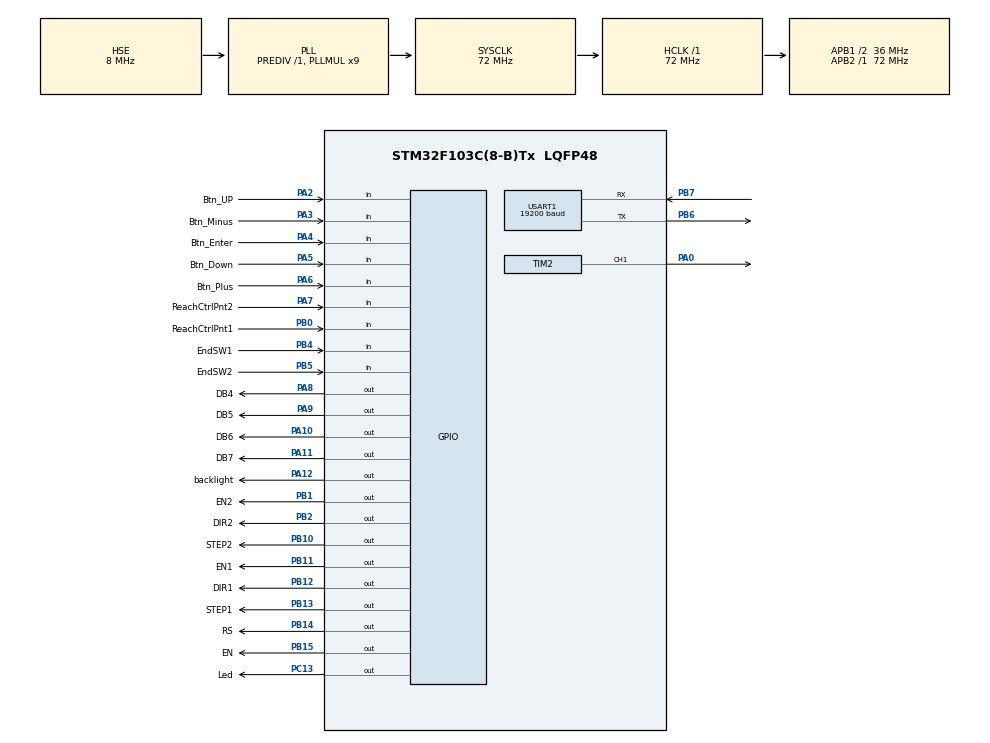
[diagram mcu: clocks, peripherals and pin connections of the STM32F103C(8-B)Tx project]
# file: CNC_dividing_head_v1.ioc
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FREERTOS.Tasks01=mainTask,24,128,StartMainTask,Default,NULL,Dynamic,NULL,NULL;ButtonProcessin,26,128,StartButtonProcessing,Default,NULL,Dynamic,NULL,NULL;LEDProcessing,8,128,StartLedProcessing,Default,NULL,Dynamic,NULL,NULL
IWDG.Prescaler=IWDG_PRESCALER_32
Mcu.Family=STM32F1
Mcu.Name=STM32F103C(8-B)Tx
Mcu.Package=LQFP48
NVIC.PriorityGroup=NVIC_PRIORITYGROUP_4
NVIC.TIM1_UP_IRQn=true\:5\:0\:false\:false\:true\:true\:true\:true\:true
NVIC.TIM4_IRQn=true\:15\:0\:false\:false\:true\:false\:true\:true\:true
NVIC.TimeBase=TIM4_IRQn
NVIC.TimeBaseIP=TIM4
NVIC.USART1_IRQn=true\:5\:0\:false\:false\:true\:true\:true\:true\:true
PA0-WKUP.Signal=S_TIM2_CH1_ETR
PA10.GPIO_Label=DB6
PA10.Signal=GPIO_Output
PA11.GPIO_Label=DB7
PA11.Signal=GPIO_Output
PA12.GPIO_Label=backlight
PA12.Signal=GPIO_Output
PA13.Mode=Trace_Asynchronous_SW
PA13.Signal=SYS_JTMS-SWDIO
PA14.Mode=Trace_Asynchronous_SW
PA14.Signal=SYS_JTCK-SWCLK
PA2.GPIO_Label=Btn_UP
PA2.Signal=GPIO_Input
PA3.GPIO_Label=Btn_Minus
PA3.Signal=GPIO_Input
PA4.GPIO_Label=Btn_Enter
PA4.Signal=GPIO_Input
PA5.GPIO_Label=Btn_Down
PA5.Signal=GPIO_Input
PA6.GPIO_Label=Btn_Plus
PA6.Signal=GPIO_Input
PA7.GPIO_Label=ReachCtrlPnt2
PA7.Signal=GPIO_Input
PA8.GPIO_Label=DB4
PA8.Signal=GPIO_Output
PA9.GPIO_Label=DB5
PA9.Signal=GPIO_Output
PB0.GPIO_Label=ReachCtrlPnt1
PB0.Signal=GPIO_Input
PB1.GPIO_Label=EN2
PB1.Signal=GPIO_Output
PB10.GPIO_Label=STEP2
PB10.GPIO_Speed=GPIO_SPEED_FREQ_HIGH
PB10.Signal=GPIO_Output
PB11.GPIO_Label=EN1
PB11.Signal=GPIO_Output
PB12.GPIO_Label=DIR1
PB12.Signal=GPIO_Output
PB13.GPIO_Label=STEP1
PB13.GPIO_Speed=GPIO_SPEED_FREQ_HIGH
PB13.Signal=GPIO_Output
PB14.GPIO_Label=RS
PB14.Signal=GPIO_Output
PB15.GPIO_Label=EN
PB15.Signal=GPIO_Output
PB2.GPIO_Label=DIR2
PB2.Signal=GPIO_Output
PB3.Mode=Trace_Asynchronous_SW
PB3.Signal=SYS_JTDO-TRACESWO
PB4.GPIO_Label=EndSW1
PB4.Signal=GPIO_Input
PB5.GPIO_Label=EndSW2
PB5.Signal=GPIO_Input
PB6.Mode=Asynchronous
PB6.Signal=USART1_TX
PB7.Mode=Asynchronous
PB7.Signal=USART1_RX
PC13-TAMPER-RTC.GPIO_Label=Led
PC13-TAMPER-RTC.GPIO_ModeDefaultOutputPP=GPIO_MODE_OUTPUT_OD
PC13-TAMPER-RTC.GPIO_PuPd=GPIO_NOPULL
PC13-TAMPER-RTC.PinState=GPIO_PIN_SET
PC13-TAMPER-RTC.Signal=GPIO_Output
PD0-OSC_IN.Mode=HSE-External-Oscillator
PD0-OSC_IN.Signal=RCC_OSC_IN
PD1-OSC_OUT.Mode=HSE-External-Oscillator
PD1-OSC_OUT.Signal=RCC_OSC_OUT
ProjectManager.HeapSize=0x200
ProjectManager.StackSize=0x400
ProjectManager.TargetToolchain=EWARM V8.32
RCC.ADCPresc=RCC_ADCPCLK2_DIV8
RCC.AHBFreq_Value=72000000
RCC.APB1CLKDivider=RCC_HCLK_DIV2
RCC.APB1Freq_Value=36000000
RCC.APB1TimFreq_Value=72000000
RCC.APB2Freq_Value=72000000
RCC.APB2TimFreq_Value=72000000
RCC.HCLKFreq_Value=72000000
RCC.PLLMUL=RCC_PLL_MUL9
RCC.PLLSourceVirtual=RCC_PLLSOURCE_HSE
RCC.SYSCLKFreq_VALUE=72000000
RCC.SYSCLKSource=RCC_SYSCLKSOURCE_PLLCLK
RCC.USBFreq_Value=72000000
SH.S_TIM2_CH1_ETR.0=TIM2_CH1,PWM Generation1 CH1
TIM1.Period=50000
TIM1.Prescaler=71
TIM2.Channel-PWM\ Generation1\ CH1=TIM_CHANNEL_1
TIM2.Prescaler=71
USART1.BaudRate=19200
USART1.Parity=PARITY_EVEN
USART1.VirtualMode=VM_ASYNC
VP_FREERTOS_VS_CMSIS_V2.Mode=CMSIS_V2
VP_IWDG_VS_IWDG.Mode=IWDG_Activate
VP_SYS_VS_tim4.Mode=TIM4
VP_TIM1_VS_ClockSourceINT.Mode=Internal
board=custom

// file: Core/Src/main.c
/* USER CODE BEGIN Header */
/**
  ******************************************************************************
  * @file           : main.c
  * @brief          : Main program body
  ******************************************************************************
  * @attention
  *
  * Copyright (c) 2024 STMicroelectronics.
  * All rights reserved.
  *
  * This software is licensed under terms that can be found in the LICENSE file
  * in the root directory of this software component.
  * If no LICENSE file comes with this software, it is provided AS-IS.
  *
  ******************************************************************************
  */
/* USER CODE END Header */
#include "main.h"
#include "cmsis_os.h"
#include "iwdg.h"
#include "tim.h"
#include "usart.h"
#include "gpio.h"

void SystemClock_Config(void);
void MX_FREERTOS_Init(void);

int main(void)
{

  /* MCU Configuration--------------------------------------------------------*/

  /* Reset of all peripherals, Initializes the Flash interface and the Systick. */
  HAL_Init();

  /* Configure the system clock */
  SystemClock_Config();

  /* Initialize all configured peripherals */
  MX_GPIO_Init();
  MX_IWDG_Init();
  MX_USART1_UART_Init();
  MX_TIM1_Init();
  MX_TIM2_Init();

  /* Init scheduler */
  osKernelInitialize();

  /* Call init function for freertos objects (in cmsis_os2.c) */
  MX_FREERTOS_Init();

  /* Start scheduler */
  osKernelStart();

  /* We should never get here as control is now taken by the scheduler */

  /* Infinite loop */
  while (1)
  {

  }
}

void SystemClock_Config(void)
{
  RCC_OscInitTypeDef RCC_OscInitStruct = {0};
  RCC_ClkInitTypeDef RCC_ClkInitStruct = {0};

  /** Initializes the RCC Oscillators according to the specified parameters
  * in the RCC_OscInitTypeDef structure.
  */
  RCC_OscInitStruct.OscillatorType = RCC_OSCILLATORTYPE_LSI|RCC_OSCILLATORTYPE_HSE;
  RCC_OscInitStruct.HSEState = RCC_HSE_ON;
  RCC_OscInitStruct.HSEPredivValue = RCC_HSE_PREDIV_DIV1;
  RCC_OscInitStruct.HSIState = RCC_HSI_ON;
  RCC_OscInitStruct.LSIState = RCC_LSI_ON;
  RCC_OscInitStruct.PLL.PLLState = RCC_PLL_ON;
  RCC_OscInitStruct.PLL.PLLSource = RCC_PLLSOURCE_HSE;
  RCC_OscInitStruct.PLL.PLLMUL = RCC_PLL_MUL9;
  if (HAL_RCC_OscConfig(&RCC_OscInitStruct) != HAL_OK)
  {
    Error_Handler();
  }

  /** Initializes the CPU, AHB and APB buses clocks
  */
  RCC_ClkInitStruct.ClockType = RCC_CLOCKTYPE_HCLK|RCC_CLOCKTYPE_SYSCLK
                              |RCC_CLOCKTYPE_PCLK1|RCC_CLOCKTYPE_PCLK2;
  RCC_ClkInitStruct.SYSCLKSource = RCC_SYSCLKSOURCE_PLLCLK;
  RCC_ClkInitStruct.AHBCLKDivider = RCC_SYSCLK_DIV1;
  RCC_ClkInitStruct.APB1CLKDivider = RCC_HCLK_DIV2;
  RCC_ClkInitStruct.APB2CLKDivider = RCC_HCLK_DIV1;

  if (HAL_RCC_ClockConfig(&RCC_ClkInitStruct, FLASH_LATENCY_2) != HAL_OK)
  {
    Error_Handler();
  }
}

void HAL_TIM_PeriodElapsedCallback(TIM_HandleTypeDef *htim)
{
  if (htim->Instance == TIM4) {
    HAL_IncTick();
  }
}

void Error_Handler(void)
{
  __disable_irq();
  while (1)
  {
  }
}

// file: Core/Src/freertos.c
/* USER CODE BEGIN Header */
/**
******************************************************************************
* File Name          : freertos.c
* Description        : Code for freertos applications
******************************************************************************
* @attention
*
* Copyright (c) 2024 STMicroelectronics.
* All rights reserved.
*
* This software is licensed under terms that can be found in the LICENSE file
* in the root directory of this software component.
* If no LICENSE file comes with this software, it is provided AS-IS.
*
******************************************************************************
*/
/* USER CODE END Header */

#include "FreeRTOS.h"
#include "task.h"
#include "main.h"
#include "cmsis_os.h"

/* USER CODE BEGIN Includes */
#include "wh1602.h"
#include <stdio.h>
#include "beep.h"
/* USER CODE END Includes */

/* USER CODE BEGIN PTD */
struct button_without_fix {
  GPIO_PinState pos_current;
  GPIO_PinState pos_previous;
  GPIO_PinState pos_out;
  GPIO_PinState pos_normal;
  uint16_t hold_counter;
};
struct Step_DIR_EN_M_inv{
  uint8_t Step:1;               //step inverse 0-no
  uint8_t DIR:1;                //dir inverse 1-yes
  uint8_t EN:1;                 //En inverse 0-no
  uint8_t Mot_Left:1;           //mot inverse 0-left CW or CCW
};
struct Motor{
  GPIO_PinState ReachCtrlPoint;         //feedback frrom me module
  uint32_t      Pulses_per_rev;         //pulses per revolution
  uint16_t      Max_Speed;              //max speed of motor pulses/sec
  int32_t       output_sp;              //how many impulses we have to send
  uint16_t      out_frequency;          //how fast we will send our impulses
  struct        Step_DIR_EN_M_inv Step_DIR_EN_M_inv;      //magic number for inversion of output pins
  uint8_t       Speed_sp;               //0-100% speed SP from settings
  uint8_t       ReachCtrlPoint_avalible; //0 not used, 1 wait for set, 2 waiting for reset
};

struct Motor M1 = {  //мотор для поворота
  GPIO_PIN_RESET,    // ReachCtrlPoint
  72000,             // Pulses_per_rev
  54000,             // Max_Speed
  0,                 // output_sp
  222,               // out_frequency
  {0, 0, 0, 0},      // Step_DIR_EN_M_inv (Step=0, DIR=0, EN=0, Mot_Left=0)
  99,                 //Speed Setpoint 0-100 direct
  0                  //Speed Setpoint 0-100 reverse
};
struct Motor M2 = {
  GPIO_PIN_RESET,    // ReachCtrlPoint
  72000,             // Pulses_per_rev
  54000,             // Max_Speed
  0,                 // output_sp
  222,               // out_frequency
  {0, 0, 0, 0},      // Step_DIR_EN_M_inv (Step=0, DIR=0, EN=0, Mot_Left=0)
  99,                 //Speed Setpoint 0-100 direct
  0                  //Speed Setpoint 0-100 reverse
};

extern TIM_HandleTypeDef htim1;
/* USER CODE END PTD */

/* USER CODE BEGIN PD */
void Flash_read();
uint32_t Flash_write();
FLASH_EraseInitTypeDef Erase;
/* USER CODE END PD */

/* USER CODE BEGIN PM */
#define flash_read(address)  (*(uint32_t*) address)
void buttin_proc(struct button_without_fix *button,GPIO_TypeDef *GPIOx, uint16_t GPIO_Pin);
void buttin_proc_without_tim(struct button_without_fix *button,GPIO_TypeDef *GPIOx, uint16_t GPIO_Pin);
void Set_period_and_start_TIM(TIM_HandleTypeDef *htim,uint16_t period);

/* USER CODE END PM */

/* USER CODE BEGIN Variables */
extern IWDG_HandleTypeDef hiwdg;
uint8_t flag=0, backlight_on=1,motor_in_use=0,startyem=0,error=0;  //screenchoise flag
uint8_t tooth_sp=0, current_tooth=0,screen_cursor=0, screen_enter_set=0;
uint8_t screen_substrate=1;
int16_t Deept_of_cut_mm=0;
uint16_t Delay_switching=0;
uint32_t Pulses_for_tooth=0;
int32_t Pulses_for_deptofcut=0; //may be in bouth directions
static struct button_without_fix  UP_btn={GPIO_PIN_RESET,GPIO_PIN_RESET,GPIO_PIN_RESET,GPIO_PIN_SET,0},
DOWN_btn={GPIO_PIN_RESET,GPIO_PIN_RESET,GPIO_PIN_RESET,GPIO_PIN_SET,0},
PLUS_btn={GPIO_PIN_RESET,GPIO_PIN_RESET,GPIO_PIN_RESET,GPIO_PIN_SET,0},
MINUS_btn={GPIO_PIN_RESET,GPIO_PIN_RESET,GPIO_PIN_RESET,GPIO_PIN_SET,0},
ENTER_btn={GPIO_PIN_RESET,GPIO_PIN_RESET,GPIO_PIN_RESET,GPIO_PIN_SET,0},
SW1_btn={GPIO_PIN_RESET,GPIO_PIN_RESET,GPIO_PIN_RESET,GPIO_PIN_SET,0},
SW2_btn={GPIO_PIN_RESET,GPIO_PIN_RESET,GPIO_PIN_RESET,GPIO_PIN_SET,0},
RCP1_btn={GPIO_PIN_RESET,GPIO_PIN_RESET,GPIO_PIN_RESET,GPIO_PIN_SET,0},
RCP2_btn={GPIO_PIN_RESET,GPIO_PIN_RESET,GPIO_PIN_RESET,GPIO_PIN_SET,0};
/* USER CODE END Variables */
/* Definitions for mainTask */
osThreadId_t mainTaskHandle;
const osThreadAttr_t mainTask_attributes = {
  .name = "mainTask",
  .stack_size = 128 * 4,
  .priority = (osPriority_t) osPriorityNormal3,
};
/* Definitions for ButtonProcessin */
osThreadId_t ButtonProcessinHandle;
const osThreadAttr_t ButtonProcessin_attributes = {
  .name = "ButtonProcessin",
  .stack_size = 128 * 4,
  .priority = (osPriority_t) osPriorityNormal2,
};
/* Definitions for LEDProcessing */
osThreadId_t LEDProcessingHandle;
const osThreadAttr_t LEDProcessing_attributes = {
  .name = "LEDProcessing",
  .stack_size = 128 * 4,
  .priority = (osPriority_t) osPriorityLow2,
};

/* USER CODE BEGIN FunctionPrototypes */
osMessageQueueId_t BeepQueueHandle;
const osMessageQueueAttr_t BeepQueue_attributes = {
  .name = "BeepQueue"
};

osThreadId_t BeepTaskHandle;
const osThreadAttr_t BeepTaskHandle_attributes = {
  .name = "BeepTask",
  .stack_size = 128 * 4,
  .priority = (osPriority_t) osPriorityLow,
};
/* USER CODE END FunctionPrototypes */

void StartMainTask(void *argument);
void StartButtonProcessing(void *argument);
void StartLedProcessing(void *argument);

void MX_FREERTOS_Init(void); /* (MISRA C 2004 rule 8.1) */

void MX_FREERTOS_Init(void) {
  /* USER CODE BEGIN Init */
  Flash_read();
  /* USER CODE END Init */

  /* USER CODE BEGIN RTOS_QUEUES */
  /* add queues, ... */
  BeepQueueHandle = osMessageQueueNew (10, sizeof(uint16_t), &BeepQueue_attributes);
  /* USER CODE END RTOS_QUEUES */

  /* Create the thread(s) */
  /* creation of mainTask */
  mainTaskHandle = osThreadNew(StartMainTask, NULL, &mainTask_attributes);

  /* creation of ButtonProcessin */
  ButtonProcessinHandle = osThreadNew(StartButtonProcessing, NULL, &ButtonProcessin_attributes);

  /* creation of LEDProcessing */
  LEDProcessingHandle = osThreadNew(StartLedProcessing, NULL, &LEDProcessing_attributes);

  /* USER CODE BEGIN RTOS_THREADS */
  /* add threads, ... */
  BeepTaskHandle = osThreadNew(vBeepTask, NULL, &BeepTaskHandle_attributes);
  /* USER CODE END RTOS_THREADS */

}

void StartMainTask(void *argument)
{
  /* USER CODE BEGIN StartMainTask */
  static uint8_t cut_phase=0;
  uint16_t RCP_timer=Delay_switching;
  uint32_t timer =osKernelGetTickCount();
  osDelay(100);
  /* Infinite loop */
  for(;;)
  {
    HAL_IWDG_Refresh(&hiwdg);

    osDelay(10);
    switch (flag) {
    case SCREEN_STARTUEM:
      if(SW1_btn.pos_out)
      {
        error=ERROR_SW1;
        BeepCustom(BeepType_Fail);
        break;
      }
      if(SW2_btn.pos_out)
      {
        error=ERROR_SW2;
        BeepCustom(BeepType_Fail);
        break;
      }
      if(startyem){  //тут инициализация запуска, поставить начальные значения для tooth sp и другое
        startyem=0;
        HAL_GPIO_WritePin(EN1_GPIO_Port,EN1_Pin,M1.Step_DIR_EN_M_inv.EN?GPIO_PIN_RESET:GPIO_PIN_SET);
        HAL_GPIO_WritePin(EN2_GPIO_Port,EN2_Pin,M2.Step_DIR_EN_M_inv.EN?GPIO_PIN_RESET:GPIO_PIN_SET);
        if (tooth_sp){
          Pulses_for_tooth=M1.Pulses_per_rev/tooth_sp;
          current_tooth=tooth_sp;
        }
        Pulses_for_deptofcut=M2.Pulses_per_rev*Deept_of_cut_mm;
        Pulses_for_deptofcut=Pulses_for_deptofcut/10;
        cut_phase=M1_FIRST_ROTATION;
        motor_in_use=1;
        M1.output_sp=Pulses_for_tooth;
        M1.out_frequency=500000/M1.Max_Speed;
        Set_period_and_start_TIM(&htim1,M1.out_frequency); //1000000/period
      }
      break;
    case SCREEN_SETTINGS3:
      if(startyem==1){
        startyem=0;
        HAL_GPIO_WritePin(EN1_GPIO_Port,EN1_Pin,M1.Step_DIR_EN_M_inv.EN?GPIO_PIN_RESET:GPIO_PIN_SET);
        motor_in_use=1;
        M1.output_sp=M1.Pulses_per_rev;
        cut_phase=M1_ROTATION;
        M1.out_frequency=500000/M1.Max_Speed;
        Set_period_and_start_TIM(&htim1,M1.out_frequency); //1000000/period
      }else if (startyem==2){
        HAL_GPIO_WritePin(EN2_GPIO_Port,EN2_Pin,M2.Step_DIR_EN_M_inv.EN?GPIO_PIN_RESET:GPIO_PIN_SET);
        startyem=0;
        motor_in_use=2;
        M2.output_sp=M2.Pulses_per_rev;
        cut_phase=M2_ROTATION;
        M2.out_frequency=500000/M2.Max_Speed;
        Set_period_and_start_TIM(&htim1,M2.out_frequency); //1000000/period
      }
      //TODO сделать тест куда ехать
      break;
    case SCREEN_SETTINGS4:
      if(startyem==1){
        HAL_GPIO_WritePin(EN1_GPIO_Port,EN1_Pin,M1.Step_DIR_EN_M_inv.EN?GPIO_PIN_RESET:GPIO_PIN_SET);
        startyem=0;
        motor_in_use=1;
        M1.output_sp=M1.Pulses_per_rev;
        cut_phase=M1_ROTATION;
        M1.out_frequency=500000/M1.Max_Speed;
        Set_period_and_start_TIM(&htim1,M1.out_frequency); //1000000/period
      }else if (startyem==2){
        startyem=0;
        HAL_GPIO_WritePin(EN2_GPIO_Port,EN2_Pin,M2.Step_DIR_EN_M_inv.EN?GPIO_PIN_RESET:GPIO_PIN_SET);
        motor_in_use=2;
        M2.output_sp=M2.Pulses_per_rev;
        cut_phase=M2_ROTATION;
        M2.out_frequency=500000/M2.Max_Speed;
        Set_period_and_start_TIM(&htim1,M2.out_frequency); //1000000/period
      }
      //TODO сделать тест куда ехать
      break;

    default:
      cut_phase=STOP;
      break;
    }

    if(error){
      flag=SCREEN_ERROR;
      cut_phase=STOP;
    }

    switch (cut_phase) {
    case STOP:
      motor_in_use=0;
      M1.output_sp=0;
      M2.output_sp=0;
      RCP_timer=Delay_switching;
        HAL_GPIO_WritePin(EN1_GPIO_Port,EN1_Pin,M1.Step_DIR_EN_M_inv.EN?GPIO_PIN_RESET:GPIO_PIN_RESET);
        HAL_GPIO_WritePin(EN2_GPIO_Port,EN2_Pin,M2.Step_DIR_EN_M_inv.EN?GPIO_PIN_RESET:GPIO_PIN_RESET);
      break;
    case M1_FIRST_ROTATION:
      if(M1.output_sp==0){  //доехали до конца
        if(M1.ReachCtrlPoint==GPIO_PIN_SET){
          cut_phase=M2_CUT_FORWARD;
          motor_in_use=2;
          M2.output_sp=Pulses_for_deptofcut;
          RCP_timer=Delay_switching;
          uint16_t temp=M2.Max_Speed*M2.Speed_sp/100;
          M2.out_frequency=500000/temp;
          Set_period_and_start_TIM(&htim1,M2.out_frequency); //1000000/period
        }
        if(RCP_timer>10){
          RCP_timer=RCP_timer-10;
        }else{
          BeepCustom(BeepType_Fail);
          error=ERROR_RCP1_TIMEOUT;
        }
      }
      break;
    case M2_CUT_FORWARD:
      if(M2.output_sp==0){  //доехали до конца
        if(M2.ReachCtrlPoint==GPIO_PIN_SET){
          motor_in_use=2;
          cut_phase=M2_CUT_BACKWARD;
          M2.output_sp=Pulses_for_deptofcut*(-1);
          RCP_timer=Delay_switching;
          M2.out_frequency=500000/M2.Max_Speed;
          Set_period_and_start_TIM(&htim1,M2.out_frequency); //1000000/period
        }
        if(RCP_timer>10){
          RCP_timer=RCP_timer-10;
        }else{
          error=ERROR_RCP2_TIMEOUT;
          BeepCustom(BeepType_Fail);
        }
      }

      break;
    case M2_CUT_BACKWARD:
      if(M2.output_sp==0){  //доехали до конца
        if(M2.ReachCtrlPoint==GPIO_PIN_SET){
          current_tooth--;
          RCP_timer=Delay_switching;
          if(current_tooth==0){

            flag=SCREEN_SUCSESS;
            BeepCustom(BeepType_Bonus);
            osDelay(2000); //дадим доехать до конца
            cut_phase=STOP;               //успешный успех
          }else{
            motor_in_use=1;
            M1.output_sp=Pulses_for_tooth;
            cut_phase=M1_FIRST_ROTATION;
            M1.out_frequency=500000/M1.Max_Speed;
            Set_period_and_start_TIM(&htim1,M1.out_frequency); //1000000/period
          }
        }
        if(RCP_timer>10){
          RCP_timer=RCP_timer-10;
        }else{
          error=ERROR_RCP2_TIMEOUT;
          BeepCustom(BeepType_Fail);
        }
      }
      break;
    case M1_ROTATION:  //тестовое вращение
      if(M1.output_sp==0){  //доехали до конца
        osDelay(2000); //дадим доехать до конца
        cut_phase=STOP;               //успешный успех
        BeepCustom(BeepType_Success);
      }
      break;
    case M2_ROTATION:  //тестовое вращение
      if(M2.output_sp==0){  //доехали до конца
        osDelay(2000); //дадим доехать до конца
        cut_phase=STOP;               //успешный успех
        BeepCustom(BeepType_Success);
      }
      break;
    }

  }
  /* USER CODE END StartMainTask */
}

void StartButtonProcessing(void *argument)
{
  /* USER CODE BEGIN StartButtonProcessing */
  osDelay(100);
  /* Infinite loop */
  for(;;)
  {
    if(M1.ReachCtrlPoint_avalible){
      if(M1.ReachCtrlPoint_avalible==2){
        RCP1_btn.pos_normal=GPIO_PIN_SET;
        buttin_proc_without_tim(&RCP1_btn,ReachCtrlPnt1_GPIO_Port,ReachCtrlPnt1_Pin);
      }else{
        RCP1_btn.pos_normal=GPIO_PIN_RESET;
        buttin_proc_without_tim(&RCP1_btn,ReachCtrlPnt1_GPIO_Port,ReachCtrlPnt1_Pin);
      }
    }else{
      RCP1_btn.pos_out=GPIO_PIN_SET;
    }

    if(M2.ReachCtrlPoint_avalible){
      if(M1.ReachCtrlPoint_avalible==2){
        RCP2_btn.pos_normal=GPIO_PIN_SET;
        buttin_proc_without_tim(&RCP2_btn,ReachCtrlPnt2_GPIO_Port,ReachCtrlPnt2_Pin);
      }else{
        RCP2_btn.pos_normal=GPIO_PIN_RESET;
        buttin_proc_without_tim(&RCP2_btn,ReachCtrlPnt2_GPIO_Port,ReachCtrlPnt2_Pin);
      }
    }else{
      RCP2_btn.pos_out=GPIO_PIN_SET;
    }
    M1.ReachCtrlPoint=RCP1_btn.pos_out;
    M2.ReachCtrlPoint=RCP2_btn.pos_out;
    buttin_proc(&UP_btn,Btn_UP_GPIO_Port,Btn_UP_Pin);
    buttin_proc(&DOWN_btn,Btn_Down_GPIO_Port,Btn_Down_Pin);
    buttin_proc(&PLUS_btn,Btn_Plus_GPIO_Port,Btn_Plus_Pin);
    buttin_proc(&MINUS_btn,Btn_Minus_GPIO_Port,Btn_Minus_Pin);
    buttin_proc(&ENTER_btn,Btn_Enter_GPIO_Port,Btn_Enter_Pin);
    buttin_proc_without_tim(&SW1_btn,EndSW1_GPIO_Port,EndSW1_Pin);
    buttin_proc_without_tim(&SW2_btn,EndSW2_GPIO_Port,EndSW2_Pin);

    osDelay(100);

    //-------------------navigation--------------------//
    switch(flag){
      //------------------------------screen0--------------------------------------//
    case SCREEN_MAIN:  //default screen
      switch(screen_cursor){
      case 0:
        screen_enter_set=0;
        break;
      case 1:
        if (ENTER_btn.pos_out){
          screen_enter_set=1;
        }
        if(screen_enter_set){
          if (PLUS_btn.pos_out){
            tooth_sp++;
            if (tooth_sp >= 250) {
              tooth_sp = 99;
            }
          }
          if (MINUS_btn.pos_out){
            tooth_sp--;
            if (tooth_sp <= 2) {
              tooth_sp = 2;
            }
          }
        }

        break;
      case 2:
        if (ENTER_btn.pos_out){
          screen_enter_set=1;
        }
        if(screen_enter_set){
          if (PLUS_btn.pos_out){
            M2.Speed_sp++;
            if (M2.Speed_sp >= 100) {
              M2.Speed_sp = 99;
            }
          }
          if (MINUS_btn.pos_out){
            M2.Speed_sp--;
            if (M2.Speed_sp <= 10) {
              M2.Speed_sp = 10;
            }
          }
        }

        break;
      case 3:
        if (ENTER_btn.pos_out){
          screen_enter_set=1;
        }
        if(screen_enter_set){
          if (PLUS_btn.pos_out){
            Deept_of_cut_mm+=PLUS_btn.hold_counter;
            if (Deept_of_cut_mm >= 1000) {
              Deept_of_cut_mm = 999;
            }
          }
          if (MINUS_btn.pos_out){
            Deept_of_cut_mm-=MINUS_btn.hold_counter;
            if (Deept_of_cut_mm <= -1000) {
              Deept_of_cut_mm = -999;
            }
          }
        }

        break;
      case 4:
        if (ENTER_btn.pos_out){
          screen_enter_set=0;
          screen_cursor=0;
          flag=SCREEN_STARTUEM;  //startyem!!!
          startyem=1;
          break;  //this break will set us to next scan;
        }

        break;
      }

      if (screen_enter_set){
        if(UP_btn.pos_out){
          screen_enter_set=0;
          screen_cursor=0;
        }
      }else{
        if (PLUS_btn.pos_out){
          (screen_cursor<4)?screen_cursor++:0;
        }
        if (MINUS_btn.pos_out){
          (screen_cursor>0)?screen_cursor--:0;
        }
        if (DOWN_btn.pos_out){
          flag=SCREEN_MAIN2;  //go to endswitches indication
          screen_cursor=0;
        }
      }
      break;
      //------------------------------screen1--------------------------------------//
    case SCREEN_MAIN2:  //settings indication screen
      if(screen_cursor==1){
        if (ENTER_btn.pos_out){
          screen_enter_set=0;
          screen_cursor=0;
          flag=SCREEN_SETTINGS1;
          break;  //this break will set us to next scan;
        }
      }else if (screen_cursor==2){
        if (ENTER_btn.pos_out){
          screen_enter_set=1;
        }
        if(screen_enter_set){
          if (PLUS_btn.pos_out){
            backlight_on=1;
          }
          if (MINUS_btn.pos_out){
            backlight_on=0;
          }
        }
      }

      if (screen_enter_set){
        if (UP_btn.pos_out){
          screen_enter_set=0;
          screen_cursor=0;
          Flash_write();
        }

      }else{
        if (PLUS_btn.pos_out){

          (screen_cursor<2)?screen_cursor++:0;
        }
        if (MINUS_btn.pos_out){

          (screen_cursor>0)?screen_cursor--:0;
        }
        if (UP_btn.pos_out){
          flag=SCREEN_MAIN;  //go to endswitches indication
          screen_cursor=0;
        }
      }
      break;
      //------------------------------screen2--------------------------------------//
    case SCREEN_SETTINGS1:  //settings reach contrl piont check and endswitches
      switch(screen_cursor){
      case 0:
        screen_enter_set=0;
        break;
      case 1:
        if (ENTER_btn.pos_out){
          screen_enter_set=1;
        }
        if(screen_enter_set){
          if (PLUS_btn.pos_out){
            SW1_btn.pos_normal=GPIO_PIN_SET;
          }
          if (MINUS_btn.pos_out){
            SW1_btn.pos_normal=GPIO_PIN_RESET;
          }
        }
        break;
      case 2:
        if (ENTER_btn.pos_out){
          screen_enter_set=1;
        }
        if(screen_enter_set){
          if (PLUS_btn.pos_out){
            Delay_switching+=PLUS_btn.hold_counter;
            if (Delay_switching>5000){
              Delay_switching=5000;
            }
          }
          if (MINUS_btn.pos_out){
            Delay_switching-=MINUS_btn.hold_counter;
            if (Delay_switching>5000){
              Delay_switching=0;
            }
          }
        }
        break;
      case 3:
        if (ENTER_btn.pos_out){
          screen_enter_set=1;
        }
        if(screen_enter_set){
          if (PLUS_btn.pos_out){
            SW2_btn.pos_normal=GPIO_PIN_SET;
          }
          if (MINUS_btn.pos_out){
            SW2_btn.pos_normal=GPIO_PIN_RESET;
          }
        }
        break;
      case 4:
        if (ENTER_btn.pos_out){
          screen_enter_set=1;
        }
        if(screen_enter_set){
          if (PLUS_btn.pos_out){
            M1.ReachCtrlPoint_avalible++;
            if (M1.ReachCtrlPoint_avalible>2){
              M1.ReachCtrlPoint_avalible=2;
            }
          }
          if (MINUS_btn.pos_out){
            M1.ReachCtrlPoint_avalible--;
            if (M1.ReachCtrlPoint_avalible>2){
              M1.ReachCtrlPoint_avalible=0;
            }
          }
        }
        break;
      case 5:
        if (ENTER_btn.pos_out){
          screen_enter_set=1;
        }
        if(screen_enter_set){
          if (PLUS_btn.pos_out){
            M2.ReachCtrlPoint_avalible++;
            if (M2.ReachCtrlPoint_avalible>2){
              M2.ReachCtrlPoint_avalible=2;
            }
          }
          if (MINUS_btn.pos_out){
            M2.ReachCtrlPoint_avalible--;
            if (M2.ReachCtrlPoint_avalible>2){
              M2.ReachCtrlPoint_avalible=0;
            }
          }
        }
        break;
      }
      if (screen_enter_set){
        if (UP_btn.pos_out){
          screen_enter_set=0;
          screen_cursor=0;
          Flash_write();
        }
      }else{
        if (PLUS_btn.pos_out){

          (screen_cursor<5)?screen_cursor++:0;
        }
        if (MINUS_btn.pos_out){

          (screen_cursor>0)?screen_cursor--:0;
        }
        if (DOWN_btn.pos_out){
          flag=SCREEN_SETTINGS2;  //go to next menu
          screen_cursor=0;
        }
        if (UP_btn.pos_out){
          flag=SCREEN_MAIN;  //go to next menu
          screen_cursor=0;
        }
      }
      break;
      //=========================screen2==============================================//

      //------------------------------screen3--------------------------------------//
    case SCREEN_SETTINGS2:   //motor out signal inversions
      switch(screen_cursor){
      case 0:
        screen_enter_set=0;
        break;
      case 1:
        if (ENTER_btn.pos_out){
          screen_enter_set=1;
        }
        if(screen_enter_set){
          if (PLUS_btn.pos_out){
            M1.Step_DIR_EN_M_inv.Mot_Left=1;
          }
          if (MINUS_btn.pos_out){
            M1.Step_DIR_EN_M_inv.Mot_Left=0;
          }
        }
        break;
      case 2:
        if (ENTER_btn.pos_out){
          screen_enter_set=1;
        }
        if(screen_enter_set){
          if (PLUS_btn.pos_out){
            M1.Step_DIR_EN_M_inv.Step=1;
          }
          if (MINUS_btn.pos_out){
            M1.Step_DIR_EN_M_inv.Step=0;
          }
        }
        break;
      case 3:
        if (ENTER_btn.pos_out){
          screen_enter_set=1;
        }
        if(screen_enter_set){
          if (PLUS_btn.pos_out){
            M1.Step_DIR_EN_M_inv.DIR=1;
          }
          if (MINUS_btn.pos_out){
            M1.Step_DIR_EN_M_inv.DIR=0;
          }
        }
        break;
      case 4:
        if (ENTER_btn.pos_out){
          screen_enter_set=1;
        }
        if(screen_enter_set){
          if (PLUS_btn.pos_out){
            M1.Step_DIR_EN_M_inv.EN=1;
          }
          if (MINUS_btn.pos_out){
            M1.Step_DIR_EN_M_inv.EN=0;
          }
        }
        break;
      case 5:
        if (ENTER_btn.pos_out){
          screen_enter_set=1;
        }
        if(screen_enter_set){
          if (PLUS_btn.pos_out){
            M2.Step_DIR_EN_M_inv.Mot_Left=1;
          }
          if (MINUS_btn.pos_out){
            M2.Step_DIR_EN_M_inv.Mot_Left=0;
          }
        }
        break;
      case 6:
        if (ENTER_btn.pos_out){
          screen_enter_set=1;
        }
        if(screen_enter_set){
          if (PLUS_btn.pos_out){
            M2.Step_DIR_EN_M_inv.Step=1;
          }
          if (MINUS_btn.pos_out){
            M2.Step_DIR_EN_M_inv.Step=0;
          }
        }
        break;
      case 7:
        if (ENTER_btn.pos_out){
          screen_enter_set=1;
        }
        if(screen_enter_set){
          if (PLUS_btn.pos_out){
            M2.Step_DIR_EN_M_inv.DIR =1;
          }
          if (MINUS_btn.pos_out){
            M2.Step_DIR_EN_M_inv.DIR =0;
          }
        }
        break;
      case 8:
        if (ENTER_btn.pos_out){
          screen_enter_set=1;
        }
        if(screen_enter_set){
          if (PLUS_btn.pos_out){
            M2.Step_DIR_EN_M_inv.EN =1;
          }
          if (MINUS_btn.pos_out){
            M2.Step_DIR_EN_M_inv.EN =0;
          }
        }
        break;
      }
      if (screen_enter_set){
        if (UP_btn.pos_out){
          screen_enter_set=0;
          screen_cursor=0;
          Flash_write();
        }
      }else{
        if (PLUS_btn.pos_out){

          (screen_cursor<8)?screen_cursor++:0;
        }
        if (MINUS_btn.pos_out){

          (screen_cursor>0)?screen_cursor--:0;
        }
        if (DOWN_btn.pos_out){
          flag=SCREEN_SETTINGS3;  //go to next menu
          screen_cursor=0;
        }
        if (UP_btn.pos_out){
          flag=SCREEN_SETTINGS1;  //go to next menu
          screen_cursor=0;
        }
      }
      break;

      //=========================screen3==============================================//

      //------------------------------screen4--------------------------------------//
    case SCREEN_SETTINGS3:   //motor puleses per revolution
      switch(screen_cursor){
      case 0:
        screen_enter_set=0;
        break;
      case 1:
        if (ENTER_btn.pos_out){
          screen_enter_set=1;
        }
        if(screen_enter_set){
          if (PLUS_btn.pos_out){
            M1.Pulses_per_rev+=PLUS_btn.hold_counter;
            if (M1.Pulses_per_rev>50000){
              M1.Pulses_per_rev=50000;
            }
          }
          if (MINUS_btn.pos_out){
            M1.Pulses_per_rev-=MINUS_btn.hold_counter;
            if (M1.Pulses_per_rev>50000){
              M1.Pulses_per_rev=0;
            }
          }
        }
        break;
      case 2:
        if (ENTER_btn.pos_out){
          screen_enter_set=1;
        }
        if(screen_enter_set){
          screen_enter_set=0;
          screen_cursor=0;
          startyem=1;
        }
        break;
      case 3:
        if (ENTER_btn.pos_out){
          screen_enter_set=1;
        }
        if(screen_enter_set){
          if (PLUS_btn.pos_out){
            M2.Pulses_per_rev+=PLUS_btn.hold_counter;
            if (M2.Pulses_per_rev>20000){
              M2.Pulses_per_rev=20000;
            }
          }
          if (MINUS_btn.pos_out){
            M2.Pulses_per_rev-=MINUS_btn.hold_counter;
            if (M2.Pulses_per_rev>20000){
              M2.Pulses_per_rev=0;
            }
          }
        }
        break;
      case 4:
        if (ENTER_btn.pos_out){
          screen_enter_set=1;
        }
        if(screen_enter_set){
          screen_enter_set=0;
          screen_cursor=0;
          startyem=2;

        }
        break;
      }
      if (screen_enter_set){
        if (UP_btn.pos_out){
          screen_enter_set=0;
          screen_cursor=0;
          Flash_write();
        }
      }else{
        if (PLUS_btn.pos_out){

          (screen_cursor<4)?screen_cursor++:0;
        }
        if (MINUS_btn.pos_out){

          (screen_cursor>0)?screen_cursor--:0;
        }
        if (DOWN_btn.pos_out){
          flag=SCREEN_SETTINGS4;  //go to next menu
          screen_cursor=0;
        }
        if (UP_btn.pos_out){
          flag=SCREEN_SETTINGS2;  //go to next menu
          screen_cursor=0;
        }
      }

      break;
      //=========================screen4==============================================//

      //------------------------------screen5--------------------------------------//
    case SCREEN_SETTINGS4:   //motor max speed, may be in future here will be autodjust according to RCP pin
      switch(screen_cursor){
      case 0:
        screen_enter_set=0;
        break;
      case 1:
        if (ENTER_btn.pos_out){
          screen_enter_set=1;
        }
        if(screen_enter_set){
          if (PLUS_btn.pos_out){
            M1.Max_Speed+=PLUS_btn.hold_counter;

          }
          if (MINUS_btn.pos_out){
            M1.Max_Speed-=MINUS_btn.hold_counter;
          }
        }
        break;
      case 2:
        if (ENTER_btn.pos_out){
          screen_enter_set=1;
        }
        if(screen_enter_set){
          screen_enter_set=0;
          screen_cursor=0;
          startyem=1;
        }
        break;
      case 3:

        if (ENTER_btn.pos_out){
          screen_enter_set=1;
        }
        if(screen_enter_set){
          if (PLUS_btn.pos_out){
            M2.Max_Speed+=PLUS_btn.hold_counter;
          }
          if (MINUS_btn.pos_out){
            M2.Max_Speed-=MINUS_btn.hold_counter;
          }
        }
        break;
      case 4:
        if (ENTER_btn.pos_out){
          screen_enter_set=1;
        }
        if(screen_enter_set){
          screen_enter_set=0;
          screen_cursor=0;
          startyem=2;

        }
        break;
      }

      if (screen_enter_set){
        if (UP_btn.pos_out){
          screen_enter_set=0;
          screen_cursor=0;
          Flash_write();
        }
      }else{
        if (PLUS_btn.pos_out){

          (screen_cursor<4)?screen_cursor++:0;
        }
        if (MINUS_btn.pos_out){

          (screen_cursor>0)?screen_cursor--:0;
        }
        if (DOWN_btn.pos_out){
          flag=SCREEN_MAIN;  //go to next menu
          screen_cursor=0;
        }
        if (UP_btn.pos_out){
          flag=SCREEN_SETTINGS1;  //go to next menu
          screen_cursor=0;
        }
      }
      break;
      //=========================screen5==============================================//

      //------------------------------screen6--------------------------------------//
    case SCREEN_SUCSESS:  //screen sucsess
      osDelay(delay_for_sucsess_screen);
      flag=SCREEN_MAIN;
      break;

      //------------------------------screen7--------------------------------------//
    case SCREEN_ERROR:
      if (UP_btn.pos_out){
        BeepCustom(BeepType_Success);
        error=ERROR_NONE;
        flag=SCREEN_MAIN;
      }
      break;
      //=========================screen7==============================================//
      //------------------------------screen8--------------------------------------//
    case SCREEN_STARTUEM:  //in work
      if (UP_btn.pos_out){
        flag=SCREEN_MAIN;
      }
      break;
      //=========================screen8==============================================//
    }
  }
  /* USER CODE END StartButtonProcessing */
}

void StartLedProcessing(void *argument)
{
  /* USER CODE BEGIN StartLedProcessing */
  /* Infinite loop */
  char R[17];
  InitializeLCD();
  osDelay(500);

  uint8_t toggle=0;
  /* Infinite loop */
  for(;;)
  {
    toggle++;
    if (screen_enter_set){
      toggle++;}
    switch(flag){
      //------------------------------screen0--------------------------------------//
    case SCREEN_MAIN:  //default screen

      if (toggle&0x02){
        sprintf(R,"SP:%03d t  M2:%03d",tooth_sp,M2.Speed_sp);
        PrintByCoordinats(0,0,R);
        sprintf(R,"P:%05dmm  Start",Deept_of_cut_mm);
        PrintByCoordinats(1,0,R);
      }else{

        switch(screen_cursor){
        case 0:
          sprintf(R,"SP:%03d t  M2:%03d",tooth_sp,M2.Speed_sp);
          PrintByCoordinats(0,0,R);
          sprintf(R,"P:%05dmm  Start",Deept_of_cut_mm);
          PrintByCoordinats(1,0,R);
          break;
        case 1:
          sprintf(R,"SP:    t  M2:%03d",M2.Speed_sp);
          PrintByCoordinats(0,0,R);
          break;
        case 2:
          sprintf(R,"SP:%03d t  M2:   ",tooth_sp);
          PrintByCoordinats(0,0,R);
          break;
        case 3:
          sprintf(R,"P:     mm  Start");
          PrintByCoordinats(1,0,R);
          break;
        case 4:
          sprintf(R,"P:%05dmm       ",Deept_of_cut_mm);
          PrintByCoordinats(1,0,R);
          break;
        }

      }
      break;
      //=========================screen0==============================================//

      //------------------------------screen1--------------------------------------//
    case SCREEN_MAIN2:  //settings indication screen

      if (toggle&0x02){
        sprintf(R,"RCP1:%01d Set Sw1:%01d",M1.ReachCtrlPoint,SW1_btn.pos_out);
        PrintByCoordinats(0,0,R);
        sprintf(R,"RCP2:%01d Bl%01d Sw2:%01d",M2.ReachCtrlPoint,backlight_on,SW2_btn.pos_out);
        PrintByCoordinats(1,0,R);
      }else{

        switch(screen_cursor){
        case 0:
          sprintf(R,"RCP1:%01d Set Sw1:%01d",M1.ReachCtrlPoint,SW1_btn.pos_out);
          PrintByCoordinats(0,0,R);
          sprintf(R,"RCP2:%01d Bl%01d Sw2:%01d",M2.ReachCtrlPoint,backlight_on,SW2_btn.pos_out);
          PrintByCoordinats(1,0,R);
          break;
        case 1:
          sprintf(R,"RCP1:%01d     Sw1:%01d",M1.ReachCtrlPoint,SW1_btn.pos_out);
          PrintByCoordinats(0,0,R);
          break;
        case 2:
          sprintf(R,"RCP2:%01d Bl  Sw2:%01d",M2.ReachCtrlPoint,SW2_btn.pos_out);
          PrintByCoordinats(1,0,R);
          break;
        }

      }

      break;
      //=========================screen1==============================================//

      //------------------------------screen2--------------------------------------//
    case SCREEN_SETTINGS1:  //settings reach contrl piont check and endswitches
      if (toggle&0x02){
        sprintf(R,"Sw1_i:%01d Del:%04d",SW1_btn.pos_normal,Delay_switching);
        PrintByCoordinats(0,0,R);
        sprintf(R,"Sw2_i%01d F1:%01d F2:%01d",SW2_btn.pos_normal,M1.ReachCtrlPoint_avalible,M2.ReachCtrlPoint_avalible);
        PrintByCoordinats(1,0,R);
      }else{
        switch(screen_cursor){
        case 0:
          sprintf(R,"Sw1_i:%01d Del:%04d",SW1_btn.pos_normal,Delay_switching);
          PrintByCoordinats(0,0,R);
          sprintf(R,"Sw2_i%01d F1:%01d F2:%01d",SW2_btn.pos_normal,M1.ReachCtrlPoint_avalible,M2.ReachCtrlPoint_avalible);
          PrintByCoordinats(1,0,R);
          break;
        case 1:
          sprintf(R,"Sw1_i:  Del:%04d",Delay_switching);
          PrintByCoordinats(0,0,R);
          sprintf(R,"Sw2_i%01d F1:%01d F2:%01d",SW2_btn.pos_normal,M1.ReachCtrlPoint_avalible,M2.ReachCtrlPoint_avalible);
          PrintByCoordinats(1,0,R);
          break;
        case 2:
          sprintf(R,"Sw1_i:%01d Del:    ",SW1_btn.pos_normal);
          PrintByCoordinats(0,0,R);
          sprintf(R,"Sw2_i%01d F1:%01d F2:%01d",SW2_btn.pos_normal,M1.ReachCtrlPoint_avalible,M2.ReachCtrlPoint_avalible);
          PrintByCoordinats(1,0,R);
          break;
        case 3:
          sprintf(R,"Sw1_i:%01d Del:%04d",SW1_btn.pos_normal,Delay_switching);
          PrintByCoordinats(0,0,R);
          sprintf(R,"Sw2_i  F1:%01d F2:%01d",M1.ReachCtrlPoint_avalible,M2.ReachCtrlPoint_avalible);
          PrintByCoordinats(1,0,R);
          break;
        case 4:
          sprintf(R,"Sw1_i:%01d Del:%04d",SW1_btn.pos_normal,Delay_switching);
          PrintByCoordinats(0,0,R);
          sprintf(R,"Sw2_i%01d F1:  F2:%01d",SW2_btn.pos_normal,M2.ReachCtrlPoint_avalible);
          PrintByCoordinats(1,0,R);
          break;
        case 5:
          sprintf(R,"Sw1_i:%01d Del:%04d",SW1_btn.pos_normal,Delay_switching);
          PrintByCoordinats(0,0,R);
          sprintf(R,"Sw2_i%01d F1:%01d F2: ",SW2_btn.pos_normal,M1.ReachCtrlPoint_avalible);
          PrintByCoordinats(1,0,R);
          break;
        }
      }
      break;
      //=========================screen2==============================================//

      //------------------------------screen3--------------------------------------//
    case SCREEN_SETTINGS2:   //motor out signal inversions

      if (toggle&0x02){
        sprintf(R,"M1:%s StDirEn:%01d%01d%01d",M1.Step_DIR_EN_M_inv.Mot_Left?"L":"R",M1.Step_DIR_EN_M_inv.Step,M1.Step_DIR_EN_M_inv.DIR,M1.Step_DIR_EN_M_inv.EN);
        PrintByCoordinats(0,0,R);
        sprintf(R,"M2:%s StDirEn:%01d%01d%01d",M2.Step_DIR_EN_M_inv.Mot_Left?"L":"R",M2.Step_DIR_EN_M_inv.Step,M2.Step_DIR_EN_M_inv.DIR,M2.Step_DIR_EN_M_inv.EN);
        PrintByCoordinats(1,0,R);
      }else{
        switch(screen_cursor){
        case 0:
          sprintf(R,"M1:%s StDirEn:%01d%01d%01d",M1.Step_DIR_EN_M_inv.Mot_Left?"L":"R",M1.Step_DIR_EN_M_inv.Step,M1.Step_DIR_EN_M_inv.DIR,M1.Step_DIR_EN_M_inv.EN);
          PrintByCoordinats(0,0,R);
          sprintf(R,"M2:%s StDirEn:%01d%01d%01d",M2.Step_DIR_EN_M_inv.Mot_Left?"L":"R",M2.Step_DIR_EN_M_inv.Step,M2.Step_DIR_EN_M_inv.DIR,M2.Step_DIR_EN_M_inv.EN);
          PrintByCoordinats(1,0,R);
          break;
        case 1:
          sprintf(R,"M1:  StDirEn:%01d%01d%01d",M1.Step_DIR_EN_M_inv.Step,M1.Step_DIR_EN_M_inv.DIR,M1.Step_DIR_EN_M_inv.EN);
          PrintByCoordinats(0,0,R);
          sprintf(R,"M2:%s StDirEn:%01d%01d%01d",M2.Step_DIR_EN_M_inv.Mot_Left?"L":"R",M2.Step_DIR_EN_M_inv.Step,M2.Step_DIR_EN_M_inv.DIR,M2.Step_DIR_EN_M_inv.EN);
          PrintByCoordinats(1,0,R);
          break;
        case 2:
          sprintf(R,"M1:%s StDirEn: %01d%01d",M1.Step_DIR_EN_M_inv.Mot_Left?"L":"R",M1.Step_DIR_EN_M_inv.DIR,M1.Step_DIR_EN_M_inv.EN);
          PrintByCoordinats(0,0,R);
          sprintf(R,"M2:%s StDirEn:%01d%01d%01d",M2.Step_DIR_EN_M_inv.Mot_Left?"L":"R",M2.Step_DIR_EN_M_inv.Step,M2.Step_DIR_EN_M_inv.DIR,M2.Step_DIR_EN_M_inv.EN);
          PrintByCoordinats(1,0,R);
          break;
        case 3:
          sprintf(R,"M1:%s StDirEn:%01d %01d",M1.Step_DIR_EN_M_inv.Mot_Left?"L":"R",M1.Step_DIR_EN_M_inv.Step,M1.Step_DIR_EN_M_inv.EN);
          PrintByCoordinats(0,0,R);
          sprintf(R,"M2:%s StDirEn:%01d%01d%01d",M2.Step_DIR_EN_M_inv.Mot_Left?"L":"R",M2.Step_DIR_EN_M_inv.Step,M2.Step_DIR_EN_M_inv.DIR,M2.Step_DIR_EN_M_inv.EN);
          PrintByCoordinats(1,0,R);
          break;
        case 4:
          sprintf(R,"M1:%s StDirEn:%01d%01d ",M1.Step_DIR_EN_M_inv.Mot_Left?"L":"R",M1.Step_DIR_EN_M_inv.Step,M1.Step_DIR_EN_M_inv.DIR);
          PrintByCoordinats(0,0,R);
          sprintf(R,"M2:%s StDirEn:%01d%01d%01d",M2.Step_DIR_EN_M_inv.Mot_Left?"L":"R",M2.Step_DIR_EN_M_inv.Step,M2.Step_DIR_EN_M_inv.DIR,M2.Step_DIR_EN_M_inv.EN);
          PrintByCoordinats(1,0,R);
          break;
        case 5:
          sprintf(R,"M1:%s StDirEn:%01d%01d%01d",M1.Step_DIR_EN_M_inv.Mot_Left?"L":"R",M1.Step_DIR_EN_M_inv.Step,M1.Step_DIR_EN_M_inv.DIR,M1.Step_DIR_EN_M_inv.EN);
          PrintByCoordinats(0,0,R);
          sprintf(R,"M2:  StDirEn:%01d%01d%01d",M2.Step_DIR_EN_M_inv.Step,M2.Step_DIR_EN_M_inv.DIR,M2.Step_DIR_EN_M_inv.EN);
          PrintByCoordinats(1,0,R);
          break;
        case 6:
          sprintf(R,"M1:%s StDirEn:%01d%01d%01d",M1.Step_DIR_EN_M_inv.Mot_Left?"L":"R",M1.Step_DIR_EN_M_inv.Step,M1.Step_DIR_EN_M_inv.DIR,M1.Step_DIR_EN_M_inv.EN);
          PrintByCoordinats(0,0,R);
          sprintf(R,"M2:%s StDirEn: %01d%01d",M2.Step_DIR_EN_M_inv.Mot_Left?"L":"R",M2.Step_DIR_EN_M_inv.DIR,M2.Step_DIR_EN_M_inv.EN);
          PrintByCoordinats(1,0,R);
          break;
        case 7:
          sprintf(R,"M1:%s StDirEn:%01d%01d%01d",M1.Step_DIR_EN_M_inv.Mot_Left?"L":"R",M1.Step_DIR_EN_M_inv.Step,M1.Step_DIR_EN_M_inv.DIR,M1.Step_DIR_EN_M_inv.EN);
          PrintByCoordinats(0,0,R);
          sprintf(R,"M2:%s StDirEn:%01d %01d",M2.Step_DIR_EN_M_inv.Mot_Left?"L":"R",M2.Step_DIR_EN_M_inv.Step,M2.Step_DIR_EN_M_inv.EN);
          PrintByCoordinats(1,0,R);
          break;
        case 8:
          sprintf(R,"M1:%s StDirEn:%01d%01d%01d",M1.Step_DIR_EN_M_inv.Mot_Left?"L":"R",M1.Step_DIR_EN_M_inv.Step,M1.Step_DIR_EN_M_inv.DIR,M1.Step_DIR_EN_M_inv.EN);
          PrintByCoordinats(0,0,R);
          sprintf(R,"M2:%s StDirEn:%01d%01d ",M2.Step_DIR_EN_M_inv.Mot_Left?"L":"R",M2.Step_DIR_EN_M_inv.Step,M2.Step_DIR_EN_M_inv.DIR);
          PrintByCoordinats(1,0,R);
          break;
        }
      }
      break;

      //=========================screen3==============================================//

      //------------------------------screen4--------------------------------------//
    case SCREEN_SETTINGS3:   //motor puleses per revolution
      if (toggle&0x02){
        sprintf(R,"M1_P:%05d  Test",M1.Pulses_per_rev);
        PrintByCoordinats(0,0,R);
        sprintf(R,"M2_P:%05d  Test",M2.Pulses_per_rev);
        PrintByCoordinats(1,0,R);
      }else{
        switch(screen_cursor){
        case 0:
          sprintf(R,"M1_P:%05d  Test",M1.Pulses_per_rev);
          PrintByCoordinats(0,0,R);
          sprintf(R,"M2_P:%05d  Test",M2.Pulses_per_rev);
          PrintByCoordinats(1,0,R);
          break;
        case 1:
          sprintf(R,"M1_P:       Test");
          PrintByCoordinats(0,0,R);
          sprintf(R,"M2_P:%05d  Test",M2.Pulses_per_rev);
          PrintByCoordinats(1,0,R);
          break;
        case 2:
          sprintf(R,"M1_P:%05d      ",M1.Pulses_per_rev);
          PrintByCoordinats(0,0,R);
          sprintf(R,"M2_P:%05d  Test",M2.Pulses_per_rev);
          PrintByCoordinats(1,0,R);
          break;
        case 3:
          sprintf(R,"M1_P:%05d  Test",M1.Pulses_per_rev);
          PrintByCoordinats(0,0,R);
          sprintf(R,"M2_P:       Test");
          PrintByCoordinats(1,0,R);
          break;
        case 4:
          sprintf(R,"M1_P:%05d  Test",M1.Pulses_per_rev);
          PrintByCoordinats(0,0,R);
          sprintf(R,"M2_P:%05d      ",M2.Pulses_per_rev);
          PrintByCoordinats(1,0,R);
          break;
        }
      }
      break;
      //=========================screen4==============================================//

      //------------------------------screen5--------------------------------------//
    case SCREEN_SETTINGS4:   //motor max speed, may be in future here will be autodjust according to RCP pin
      if (toggle&0x02){
        sprintf(R,"M1_M:%05d  Test",M1.Max_Speed);
        PrintByCoordinats(0,0,R);
        sprintf(R,"M2_M:%05d  Test",M2.Max_Speed);
        PrintByCoordinats(1,0,R);
      }else{
        switch(screen_cursor){
        case 0:
          sprintf(R,"M1_M:%05d  Test",M1.Max_Speed);
          PrintByCoordinats(0,0,R);
          sprintf(R,"M2_M:%05d  Test",M2.Max_Speed);
          PrintByCoordinats(1,0,R);
          break;
        case 1:
          sprintf(R,"M1_M:       Test");
          PrintByCoordinats(0,0,R);
          sprintf(R,"M2_M:%05d  Test",M2.Max_Speed);
          PrintByCoordinats(1,0,R);
          break;
        case 2:
          sprintf(R,"M1_M:%05d      ",M1.Max_Speed);
          PrintByCoordinats(0,0,R);
          sprintf(R,"M2_M:%05d  Test",M2.Max_Speed);
          PrintByCoordinats(1,0,R);
          break;
        case 3:
          sprintf(R,"M1_M:%05d  Test",M1.Max_Speed);
          PrintByCoordinats(0,0,R);
          sprintf(R,"M2_M:       Test");
          PrintByCoordinats(1,0,R);
          break;
        case 4:
          sprintf(R,"M1_M:%05d  Test",M1.Max_Speed);
          PrintByCoordinats(0,0,R);
          sprintf(R,"M2_M:%05d      ",M2.Max_Speed);
          PrintByCoordinats(1,0,R);
          break;
        }
      }
      break;
      //=========================screen5==============================================//

      //------------------------------screen6--------------------------------------//
    case SCREEN_SUCSESS:  //screen sucsess
      Cursor(0,0);
      PrintStr("     Sucsess    ");
      Cursor(1,0);
      PrintStr("****************");
      break;
      //=========================screen6==============================================//

      //------------------------------screen7--------------------------------------//
    case SCREEN_ERROR:
      Cursor(0,0);
      PrintStr("  Error:        ");
      Cursor(1,0);
      switch (error){
      case ERROR_NONE:
        PrintStr("****************");
        break;
      case ERROR_SW1:
        PrintStr("END Switch 1    ");
        break;
      case ERROR_SW2:
        PrintStr("END Switch 2    ");
        break;
      case ERROR_RCP1_TIMEOUT:
        PrintStr("timeout CTRLP M1");
        break;
      case ERROR_RCP2_TIMEOUT:
        PrintStr("timeout CTRLP M2");
        break;
      case ERROR_SYSTEM:
        PrintStr("zvonit_4et_ne_to");
        break;
      case ERROR_FLASH_W:
        PrintStr("Flash err write ");
        break;
      case ERROR_FLASH_R:
        PrintStr("Flash error read");
        break;
      }
      break;
      //=========================screen7==============================================//

      //------------------------------screen8--------------------------------------//
    case SCREEN_STARTUEM:  //in work
      sprintf(R,"SP:%03d  Cur:%03d ",tooth_sp,current_tooth);
      PrintByCoordinats(0,0,R);
      sprintf(R,"M%01d R1:%01d R2:%01d  %01d%01d",motor_in_use,M1.ReachCtrlPoint, M2.ReachCtrlPoint,SW1_btn.pos_out,SW2_btn.pos_out);
      PrintByCoordinats(1,0,R);

      break;
      //=========================screen8==============================================//
    }
    HAL_GPIO_TogglePin(Led_GPIO_Port,Led_Pin);
    osDelay(250);
    if (backlight_on){
      HAL_GPIO_WritePin(backlight_GPIO_Port,backlight_Pin,GPIO_PIN_SET);
    }else{
      HAL_GPIO_WritePin(backlight_GPIO_Port,backlight_Pin,GPIO_PIN_RESET);
    }

  }
  /* USER CODE END StartLedProcessing */
}

/* USER CODE BEGIN Application */
/*
проверяем только pos_out, он зависит от нормального положения кнопки и выставляется через 2 скана нажатия (фильтр дребезга + конденсаторы на плате еще)
так же есть счетчик для удержания, в общем все нормалды
*/
void buttin_proc(struct button_without_fix *button,GPIO_TypeDef *GPIOx, uint16_t GPIO_Pin){
  button->pos_previous=button->pos_current;
  button->pos_current=HAL_GPIO_ReadPin(GPIOx,GPIO_Pin);
  if ((button->pos_previous==button->pos_current)&&(button->pos_current!=button->pos_normal)){
    button->pos_out=GPIO_PIN_SET;
    if (button->hold_counter<6){
      button->hold_counter++;
    }else if(button->hold_counter<50){
      button->hold_counter+=5;
    }else if(button->hold_counter<250){
      button->hold_counter+=20;
    }else if(button->hold_counter>1250){
      return;
    }
  }else{
    button->pos_out=GPIO_PIN_RESET;
    button->hold_counter=0;
  }
}

void buttin_proc_without_tim(struct button_without_fix *button,GPIO_TypeDef *GPIOx, uint16_t GPIO_Pin){
  button->pos_previous=button->pos_current;
  button->pos_current=HAL_GPIO_ReadPin(GPIOx,GPIO_Pin);
  if ((button->pos_previous==button->pos_current)&&(button->pos_current!=button->pos_normal)){
    button->pos_out=GPIO_PIN_SET;
  }else{
    button->pos_out=GPIO_PIN_RESET;
    button->hold_counter=0;
  }
}

uint32_t Flash_write(){
  taskENTER_CRITICAL();
  uint32_t flash_ret;
  HAL_FLASH_Unlock();
  Erase.TypeErase=FLASH_TYPEERASE_PAGES;
  Erase.PageAddress=User_Page_Adress[0];
  Erase.NbPages=1;  //1kBytes
  //  Delay_switching backlight_on tooth_sp Deept_of_cut_mm Deept_of_cut_pulses M1
  if (HAL_FLASHEx_Erase(&Erase, &flash_ret) != HAL_OK) {
    HAL_FLASH_Lock();
    taskEXIT_CRITICAL();
    error=ERROR_FLASH_W;
    BeepCustom(BeepType_Fail);
    return flash_ret;
  }
  // Упаковка данных кнопок (9 бит)
  uint32_t buttons_data =
    (UP_btn.pos_normal    << 0) |
      (DOWN_btn.pos_normal  << 1) |
        (PLUS_btn.pos_normal  << 2) |
          (MINUS_btn.pos_normal << 3) |
            (ENTER_btn.pos_normal << 4) |
              (SW1_btn.pos_normal   << 5) |
                (SW2_btn.pos_normal   << 6) |
                  (RCP1_btn.pos_normal  << 7) |
                    (RCP2_btn.pos_normal  << 8);

  // Запись данных
  HAL_FLASH_Program(FLASH_TYPEPROGRAM_WORD, User_Page_Adress[0], buttons_data);

  // M1 данные
  HAL_FLASH_Program(FLASH_TYPEPROGRAM_WORD, User_Page_Adress[1], M1.Pulses_per_rev);
  HAL_FLASH_Program(FLASH_TYPEPROGRAM_WORD, User_Page_Adress[2], (M1.Max_Speed << 16) | M1.out_frequency);
  uint8_t m1_inv = M1.Step_DIR_EN_M_inv.Step | (M1.Step_DIR_EN_M_inv.DIR << 1)
    | (M1.Step_DIR_EN_M_inv.EN << 2) | (M1.Step_DIR_EN_M_inv.Mot_Left << 3);
  HAL_FLASH_Program(FLASH_TYPEPROGRAM_WORD, User_Page_Adress[3],
                    m1_inv | (M1.Speed_sp << 8) | (M1.ReachCtrlPoint_avalible << 16));

  // M2 данные
  HAL_FLASH_Program(FLASH_TYPEPROGRAM_WORD, User_Page_Adress[4], M2.Pulses_per_rev);
  HAL_FLASH_Program(FLASH_TYPEPROGRAM_WORD, User_Page_Adress[5], (M2.Max_Speed << 16) | M2.out_frequency);
  uint8_t m2_inv = M2.Step_DIR_EN_M_inv.Step | (M2.Step_DIR_EN_M_inv.DIR << 1)
    | (M2.Step_DIR_EN_M_inv.EN << 2) | (M2.Step_DIR_EN_M_inv.Mot_Left << 3);
  HAL_FLASH_Program(FLASH_TYPEPROGRAM_WORD, User_Page_Adress[6],
                    m2_inv | (M2.Speed_sp << 8) | (M2.ReachCtrlPoint_avalible << 16));

  // Прочие переменные
  HAL_FLASH_Program(FLASH_TYPEPROGRAM_WORD, User_Page_Adress[7],
                    (Deept_of_cut_mm << 16) | (tooth_sp << 8) | backlight_on);
  HAL_FLASH_Program(FLASH_TYPEPROGRAM_WORD, User_Page_Adress[8], Delay_switching);

  HAL_FLASH_Lock();
  taskEXIT_CRITICAL();
  return 0xFFFFFFFF; // Успешная запись

}

void Flash_read() {
  // Чтение данных кнопок
  uint32_t buttons_data = flash_read(User_Page_Adress[0]);
  if (buttons_data==0xFF){
    error=ERROR_FLASH_R;
    BeepCustom(BeepType_Fail);
    return; //в первый раз?
  }
  UP_btn.pos_normal = (GPIO_PinState)((buttons_data >> 0) & 0x01);
  DOWN_btn.pos_normal = (GPIO_PinState)((buttons_data >> 1) & 0x01);
  PLUS_btn.pos_normal = (GPIO_PinState)((buttons_data >> 2) & 0x01);
  MINUS_btn.pos_normal = (GPIO_PinState)((buttons_data >> 3) & 0x01);
  ENTER_btn.pos_normal = (GPIO_PinState)((buttons_data >> 4) & 0x01);
  SW1_btn.pos_normal = (GPIO_PinState)((buttons_data >> 5) & 0x01);
  SW2_btn.pos_normal = (GPIO_PinState)((buttons_data >> 6) & 0x01);
  RCP1_btn.pos_normal = (GPIO_PinState)((buttons_data >> 7) & 0x01);
  RCP2_btn.pos_normal = (GPIO_PinState)((buttons_data >> 8) & 0x01);

  // M1 данные
  M1.Pulses_per_rev = flash_read(User_Page_Adress[1]);
  uint32_t m1_speed = flash_read(User_Page_Adress[2]);
  M1.Max_Speed = (m1_speed >> 16) & 0xFFFF;
  M1.out_frequency = m1_speed & 0xFFFF;
  uint32_t m1_set = flash_read(User_Page_Adress[3]);
  M1.Step_DIR_EN_M_inv.Step = m1_set & 0x01;
  M1.Step_DIR_EN_M_inv.DIR = (m1_set >> 1) & 0x01;
  M1.Step_DIR_EN_M_inv.EN = (m1_set >> 2) & 0x01;
  M1.Step_DIR_EN_M_inv.Mot_Left = (m1_set >> 3) & 0x01;
  M1.Speed_sp = (m1_set >> 8) & 0xFF;
  M1.ReachCtrlPoint_avalible = (m1_set >> 16) & 0xFF;

  // M2 данные (аналогично M1)
  M2.Pulses_per_rev = flash_read(User_Page_Adress[4]);
  uint32_t m2_speed = flash_read(User_Page_Adress[5]);
  M2.Max_Speed = (m2_speed >> 16) & 0xFFFF;
  M2.out_frequency = m2_speed & 0xFFFF;
  uint32_t m2_set = flash_read(User_Page_Adress[6]);
  M2.Step_DIR_EN_M_inv.Step = m2_set & 0x01;
  M2.Step_DIR_EN_M_inv.DIR = (m2_set >> 1) & 0x01;
  M2.Step_DIR_EN_M_inv.EN = (m2_set >> 2) & 0x01;
  M2.Step_DIR_EN_M_inv.Mot_Left = (m2_set >> 3) & 0x01;
  M2.Speed_sp = (m2_set >> 8) & 0xFF;
  M2.ReachCtrlPoint_avalible = (m2_set >> 16) & 0xFF;

  // Прочие переменные
  uint32_t vars1 = flash_read(User_Page_Adress[7]);
  backlight_on = vars1 & 0xFF;
  tooth_sp = (vars1 >> 8) & 0xFF;
  Deept_of_cut_mm = (vars1 >> 16) & 0xFFFF;
  Delay_switching = flash_read(User_Page_Adress[8]) & 0xFFFF;
}

void Set_period_and_start_TIM(TIM_HandleTypeDef *htim, uint16_t period){
  __HAL_TIM_SET_AUTORELOAD(htim, period);                //f==1000000/period
  // Сбрасываем счётчик таймера
  __HAL_TIM_SET_COUNTER(htim, 0);
    HAL_TIM_Base_Start_IT(htim); // Запускаем таймер

}
void Process_morots_from_IRQ(void){
  static uint8_t toggle=1;
  if(motor_in_use==1){
    if(M1.output_sp>0)          //SP--
    {
      //HAL_GPIO_WritePin(EN1_GPIO_Port,EN1_Pin,M1.Step_DIR_EN_M_inv.EN?GPIO_PIN_RESET:GPIO_PIN_SET);
      HAL_GPIO_WritePin(DIR1_GPIO_Port,DIR1_Pin,M1.Step_DIR_EN_M_inv.DIR?GPIO_PIN_RESET:GPIO_PIN_SET);
      if(toggle){
        toggle=0;
        HAL_GPIO_WritePin(STEP1_GPIO_Port,STEP1_Pin,M1.Step_DIR_EN_M_inv.Step?GPIO_PIN_SET:GPIO_PIN_RESET);
      }else {
        HAL_GPIO_WritePin(STEP1_GPIO_Port, STEP1_Pin, M1.Step_DIR_EN_M_inv.Step ? GPIO_PIN_RESET : GPIO_PIN_SET);
        toggle = 1;
        M1.output_sp--;
      }
    }else if (M1.output_sp==0){
      toggle=1;
      HAL_GPIO_WritePin(STEP1_GPIO_Port,STEP1_Pin,M1.Step_DIR_EN_M_inv.Step?GPIO_PIN_SET:GPIO_PIN_RESET);
      //HAL_GPIO_WritePin(EN1_GPIO_Port,EN1_Pin,M1.Step_DIR_EN_M_inv.EN?GPIO_PIN_SET:GPIO_PIN_RESET);
      HAL_TIM_Base_Stop_IT(&htim1);
    }else{                      //SP++
      HAL_GPIO_WritePin(DIR1_GPIO_Port,DIR1_Pin,M1.Step_DIR_EN_M_inv.DIR?GPIO_PIN_SET:GPIO_PIN_RESET);
      //HAL_GPIO_WritePin(EN1_GPIO_Port,EN1_Pin,M1.Step_DIR_EN_M_inv.EN?GPIO_PIN_RESET:GPIO_PIN_SET);
      if (toggle) {
        HAL_GPIO_WritePin(STEP1_GPIO_Port, STEP1_Pin, M1.Step_DIR_EN_M_inv.Step ? GPIO_PIN_SET : GPIO_PIN_RESET);
        toggle = 0;
      } else {
        HAL_GPIO_WritePin(STEP1_GPIO_Port, STEP1_Pin, M1.Step_DIR_EN_M_inv.Step ? GPIO_PIN_RESET : GPIO_PIN_SET);
        toggle = 1;
        M1.output_sp++;
      }
    }

  }else if(motor_in_use==2){
    if (M2.output_sp > 0) {
      // Генерация шагов для M2 (прямое направление)
      //HAL_GPIO_WritePin(EN2_GPIO_Port, EN2_Pin, M2.Step_DIR_EN_M_inv.EN ? GPIO_PIN_RESET : GPIO_PIN_SET);
      HAL_GPIO_WritePin(DIR2_GPIO_Port, DIR2_Pin, M2.Step_DIR_EN_M_inv.DIR ? GPIO_PIN_RESET : GPIO_PIN_SET);

      if (toggle) {
        HAL_GPIO_WritePin(STEP2_GPIO_Port, STEP2_Pin, M2.Step_DIR_EN_M_inv.Step ? GPIO_PIN_SET : GPIO_PIN_RESET);
        toggle = 0;
      } else {
        HAL_GPIO_WritePin(STEP2_GPIO_Port, STEP2_Pin, M2.Step_DIR_EN_M_inv.Step ? GPIO_PIN_RESET : GPIO_PIN_SET);
        toggle = 1;
        M2.output_sp--;
      }
    }
    else if (M2.output_sp == 0) {
      // Остановка M2
      toggle = 1;
      HAL_GPIO_WritePin(STEP2_GPIO_Port, STEP2_Pin, M2.Step_DIR_EN_M_inv.Step ? GPIO_PIN_RESET : GPIO_PIN_SET);
      //HAL_GPIO_WritePin(EN2_GPIO_Port, EN2_Pin, M2.Step_DIR_EN_M_inv.EN ? GPIO_PIN_SET : GPIO_PIN_RESET);
      HAL_TIM_Base_Stop(&htim1); // Или другой таймер, если используется отдельный
    }
    else {
      // Генерация шагов для M2 (обратное направление)
      //HAL_GPIO_WritePin(EN2_GPIO_Port, EN2_Pin, M2.Step_DIR_EN_M_inv.EN ? GPIO_PIN_RESET : GPIO_PIN_SET);
      HAL_GPIO_WritePin(DIR2_GPIO_Port, DIR2_Pin, M2.Step_DIR_EN_M_inv.DIR ? GPIO_PIN_SET : GPIO_PIN_RESET);

      if (toggle) {
        HAL_GPIO_WritePin(STEP2_GPIO_Port, STEP2_Pin, M2.Step_DIR_EN_M_inv.Step ? GPIO_PIN_SET : GPIO_PIN_RESET);
        toggle = 0;
      } else {
        HAL_GPIO_WritePin(STEP2_GPIO_Port, STEP2_Pin, M2.Step_DIR_EN_M_inv.Step ? GPIO_PIN_RESET : GPIO_PIN_SET);
        toggle = 1;
        M2.output_sp++;
      }
    }
  }else{
    HAL_GPIO_WritePin(STEP1_GPIO_Port,STEP1_Pin,M1.Step_DIR_EN_M_inv.Step?GPIO_PIN_SET:GPIO_PIN_RESET);
    //HAL_GPIO_WritePin(EN1_GPIO_Port,EN1_Pin,M1.Step_DIR_EN_M_inv.EN?GPIO_PIN_SET:GPIO_PIN_RESET);
    HAL_GPIO_WritePin(STEP2_GPIO_Port, STEP2_Pin, M2.Step_DIR_EN_M_inv.Step ? GPIO_PIN_RESET : GPIO_PIN_SET);
    //HAL_GPIO_WritePin(EN2_GPIO_Port, EN2_Pin, M2.Step_DIR_EN_M_inv.EN ? GPIO_PIN_SET : GPIO_PIN_RESET);
    HAL_TIM_Base_Stop(&htim1); // Или другой таймер, если используется отдельный
  }
}
/* USER CODE END Application */
